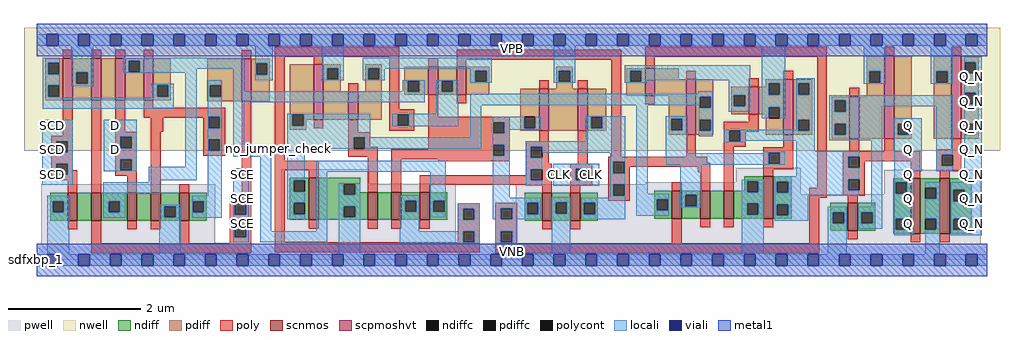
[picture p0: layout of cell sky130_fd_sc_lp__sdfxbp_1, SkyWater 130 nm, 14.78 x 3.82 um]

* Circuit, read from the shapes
.subckt sky130_fd_sc_lp__sdfxbp_1 CLK D SCD SCE VGND VNB VPB VPWR Q Q_N
XM1 n1 SCD VGND VNB sky130_fd_pr__nfet_01v8 w=0.42 l=0.15
XM2 n2 SCE n1 VNB sky130_fd_pr__nfet_01v8 w=0.42 l=0.15
XM3 n3 D n2 VNB sky130_fd_pr__nfet_01v8 w=0.42 l=0.15
XM4 VGND n4 n3 VNB sky130_fd_pr__nfet_01v8 w=0.42 l=0.15
XM5 n4 SCE VGND VNB sky130_fd_pr__nfet_01v8 w=0.42 l=0.15
XM6 VGND n5 n6 VNB sky130_fd_pr__nfet_01v8 w=0.64 l=0.15
XM7 n7 n6 VGND VNB sky130_fd_pr__nfet_01v8 w=0.42 l=0.15
XM8 n5 n8 n7 VNB sky130_fd_pr__nfet_01v8 w=0.42 l=0.15
XM9 n2 n9 n5 VNB sky130_fd_pr__nfet_01v8 w=0.42 l=0.15
XM10 VGND n9 n8 VNB sky130_fd_pr__nfet_01v8 w=0.42 l=0.15
XM11 n9 CLK VGND VNB sky130_fd_pr__nfet_01v8 w=0.42 l=0.15
XM12 n10 n8 n6 VNB sky130_fd_pr__nfet_01v8 w=0.42 l=0.15
XM13 n11 n9 n10 VNB sky130_fd_pr__nfet_01v8 w=0.42 l=0.15
XM14 VGND n12 n11 VNB sky130_fd_pr__nfet_01v8 w=0.42 l=0.15
XM15 n12 n10 VGND VNB sky130_fd_pr__nfet_01v8 w=0.64 l=0.15
XM16 n13 n12 VGND VNB sky130_fd_pr__nfet_01v8 w=0.42 l=0.15
XM17 VGND n12 Q VNB sky130_fd_pr__nfet_01v8 w=0.84 l=0.15
XM18 Q_N n13 VGND VNB sky130_fd_pr__nfet_01v8 w=0.84 l=0.15
XM19 VPWR SCD n14 VPB sky130_fd_pr__pfet_01v8_hvt w=0.64 l=0.15
XM20 n15 SCE VPWR VPB sky130_fd_pr__pfet_01v8_hvt w=0.64 l=0.15
XM21 n2 D n15 VPB sky130_fd_pr__pfet_01v8_hvt w=0.64 l=0.15
XM22 n14 n4 n2 VPB sky130_fd_pr__pfet_01v8_hvt w=0.64 l=0.15
XM23 VPWR SCE n4 VPB sky130_fd_pr__pfet_01v8_hvt w=0.64 l=0.15
XM24 VPWR n5 n6 VPB sky130_fd_pr__pfet_01v8_hvt w=0.84 l=0.15
XM25 n16 n6 VPWR VPB sky130_fd_pr__pfet_01v8_hvt w=0.42 l=0.15
XM26 n5 n8 n2 VPB sky130_fd_pr__pfet_01v8_hvt w=0.42 l=0.15
XM27 n16 n9 n5 VPB sky130_fd_pr__pfet_01v8_hvt w=0.42 l=0.15
XM28 VPWR n9 n8 VPB sky130_fd_pr__pfet_01v8_hvt w=0.64 l=0.15
XM29 n9 CLK VPWR VPB sky130_fd_pr__pfet_01v8_hvt w=0.64 l=0.15
XM30 n10 n8 n17 VPB sky130_fd_pr__pfet_01v8_hvt w=0.42 l=0.15
XM31 n6 n9 n10 VPB sky130_fd_pr__pfet_01v8_hvt w=0.84 l=0.15
XM32 VPWR n12 n17 VPB sky130_fd_pr__pfet_01v8_hvt w=0.42 l=0.15
XM33 n12 n10 VPWR VPB sky130_fd_pr__pfet_01v8_hvt w=0.84 l=0.15
XM34 VPWR n12 n13 VPB sky130_fd_pr__pfet_01v8_hvt w=0.64 l=0.15
XM35 Q n12 VPWR VPB sky130_fd_pr__pfet_01v8_hvt w=1.26 l=0.15
XM36 Q_N n13 VPWR VPB sky130_fd_pr__pfet_01v8_hvt w=1.26 l=0.15
.ends

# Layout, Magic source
magic
tech sky130A
magscale 1 2
<< nwell >>
rect -38 331 2918 704
<< pwell >>
rect 741 231 1007 275
rect 2118 235 2314 279
rect 15 49 541 229
rect 741 49 1270 231
rect 1845 229 2314 235
rect 1452 199 2314 229
rect 2568 199 2859 273
rect 1452 49 2859 199
rect 0 0 2880 49
<< scnmos >>
rect 94 119 124 203
rect 166 119 196 203
rect 274 119 304 203
rect 346 119 376 203
rect 432 119 462 203
rect 824 121 854 249
rect 1003 121 1033 205
rect 1075 121 1105 205
rect 1161 121 1191 205
rect 1531 119 1561 203
rect 1617 119 1647 203
rect 1924 125 1954 209
rect 2010 125 2040 209
rect 2082 125 2112 209
rect 2201 125 2231 253
rect 2457 89 2487 173
rect 2647 79 2677 247
rect 2736 79 2766 247
<< scpmoshvt >>
rect 80 483 110 611
rect 166 483 196 611
rect 238 483 268 611
rect 324 483 354 611
rect 621 481 651 609
rect 839 425 869 593
rect 944 425 974 509
rect 1186 501 1216 585
rect 1272 501 1302 585
rect 1522 391 1552 519
rect 1639 391 1669 519
rect 1843 497 1873 581
rect 1967 379 1997 547
rect 2157 441 2187 525
rect 2262 379 2292 547
rect 2462 367 2492 495
rect 2567 367 2597 619
rect 2770 367 2800 619
<< ndiff >>
rect 41 178 94 203
rect 41 144 49 178
rect 83 144 94 178
rect 41 119 94 144
rect 124 119 166 203
rect 196 178 274 203
rect 196 144 218 178
rect 252 144 274 178
rect 196 119 274 144
rect 304 119 346 203
rect 376 163 432 203
rect 376 129 387 163
rect 421 129 432 163
rect 376 119 432 129
rect 462 178 515 203
rect 462 144 473 178
rect 507 144 515 178
rect 462 119 515 144
rect 767 241 824 249
rect 767 207 779 241
rect 813 207 824 241
rect 767 173 824 207
rect 767 139 779 173
rect 813 139 824 173
rect 767 121 824 139
rect 854 231 981 249
rect 854 197 931 231
rect 965 205 981 231
rect 965 197 1003 205
rect 854 163 1003 197
rect 854 129 931 163
rect 965 129 1003 163
rect 854 121 1003 129
rect 1033 121 1075 205
rect 1105 180 1161 205
rect 1105 146 1116 180
rect 1150 146 1161 180
rect 1105 121 1161 146
rect 1191 180 1244 205
rect 1191 146 1202 180
rect 1236 146 1244 180
rect 1478 173 1531 203
rect 1191 121 1244 146
rect 1478 139 1486 173
rect 1520 139 1531 173
rect 1478 119 1531 139
rect 1561 174 1617 203
rect 1561 140 1572 174
rect 1606 140 1617 174
rect 1561 119 1617 140
rect 1647 173 1700 203
rect 2144 239 2201 253
rect 2144 209 2152 239
rect 1871 184 1924 209
rect 1647 139 1658 173
rect 1692 139 1700 173
rect 1647 119 1700 139
rect 1871 150 1879 184
rect 1913 150 1924 184
rect 1871 125 1924 150
rect 1954 197 2010 209
rect 1954 163 1965 197
rect 1999 163 2010 197
rect 1954 125 2010 163
rect 2040 125 2082 209
rect 2112 205 2152 209
rect 2186 205 2201 239
rect 2112 171 2201 205
rect 2112 137 2152 171
rect 2186 137 2201 171
rect 2112 125 2201 137
rect 2231 237 2288 253
rect 2231 203 2242 237
rect 2276 203 2288 237
rect 2231 169 2288 203
rect 2231 135 2242 169
rect 2276 135 2288 169
rect 2231 125 2288 135
rect 2594 235 2647 247
rect 2594 201 2602 235
rect 2636 201 2647 235
rect 2404 145 2457 173
rect 2404 111 2412 145
rect 2446 111 2457 145
rect 2404 89 2457 111
rect 2487 145 2540 173
rect 2487 111 2498 145
rect 2532 111 2540 145
rect 2487 89 2540 111
rect 2594 125 2647 201
rect 2594 91 2602 125
rect 2636 91 2647 125
rect 2594 79 2647 91
rect 2677 219 2736 247
rect 2677 185 2691 219
rect 2725 185 2736 219
rect 2677 125 2736 185
rect 2677 91 2691 125
rect 2725 91 2736 125
rect 2677 79 2736 91
rect 2766 212 2833 247
rect 2766 178 2777 212
rect 2811 178 2833 212
rect 2766 125 2833 178
rect 2766 91 2777 125
rect 2811 91 2833 125
rect 2766 79 2833 91
<< pdiff >>
rect 27 597 80 611
rect 27 563 35 597
rect 69 563 80 597
rect 27 529 80 563
rect 27 495 35 529
rect 69 495 80 529
rect 27 483 80 495
rect 110 568 166 611
rect 110 534 121 568
rect 155 534 166 568
rect 110 483 166 534
rect 196 483 238 611
rect 268 603 324 611
rect 268 569 279 603
rect 313 569 324 603
rect 268 483 324 569
rect 354 529 407 611
rect 354 495 365 529
rect 399 495 407 529
rect 354 483 407 495
rect 517 529 621 609
rect 517 495 525 529
rect 559 495 621 529
rect 517 481 621 495
rect 651 595 707 609
rect 651 561 665 595
rect 699 561 707 595
rect 651 481 707 561
rect 767 441 839 593
rect 767 407 775 441
rect 809 425 839 441
rect 869 581 922 593
rect 869 547 880 581
rect 914 547 922 581
rect 869 509 922 547
rect 996 581 1046 593
rect 996 547 1004 581
rect 1038 547 1046 581
rect 996 509 1046 547
rect 869 425 944 509
rect 974 425 1046 509
rect 1113 543 1186 585
rect 1113 509 1125 543
rect 1159 509 1186 543
rect 1113 501 1186 509
rect 1216 543 1272 585
rect 1216 509 1227 543
rect 1261 509 1272 543
rect 1216 501 1272 509
rect 1302 573 1371 585
rect 1302 539 1329 573
rect 1363 539 1371 573
rect 1574 573 1624 585
rect 1302 501 1371 539
rect 1574 539 1582 573
rect 1616 539 1624 573
rect 1574 519 1624 539
rect 809 407 817 425
rect 767 395 817 407
rect 1465 433 1522 519
rect 1465 399 1477 433
rect 1511 399 1522 433
rect 1465 391 1522 399
rect 1552 391 1639 519
rect 1669 433 1726 519
rect 1669 399 1680 433
rect 1714 399 1726 433
rect 1669 391 1726 399
rect 1786 573 1843 581
rect 1786 539 1798 573
rect 1832 539 1843 573
rect 1786 497 1843 539
rect 1873 547 1945 581
rect 1873 497 1967 547
rect 1914 427 1967 497
rect 1914 393 1922 427
rect 1956 393 1967 427
rect 1914 379 1967 393
rect 1997 495 2050 547
rect 2209 535 2262 547
rect 2209 525 2217 535
rect 1997 461 2008 495
rect 2042 461 2050 495
rect 1997 425 2050 461
rect 2104 499 2157 525
rect 2104 465 2112 499
rect 2146 465 2157 499
rect 2104 441 2157 465
rect 2187 501 2217 525
rect 2251 501 2262 535
rect 2187 463 2262 501
rect 2187 441 2217 463
rect 1997 391 2008 425
rect 2042 391 2050 425
rect 1997 379 2050 391
rect 2209 429 2217 441
rect 2251 429 2262 463
rect 2209 379 2262 429
rect 2292 535 2349 547
rect 2292 501 2307 535
rect 2341 501 2349 535
rect 2292 425 2349 501
rect 2292 391 2307 425
rect 2341 391 2349 425
rect 2292 379 2349 391
rect 2514 571 2567 619
rect 2514 537 2522 571
rect 2556 537 2567 571
rect 2514 495 2567 537
rect 2409 483 2462 495
rect 2409 449 2417 483
rect 2451 449 2462 483
rect 2409 413 2462 449
rect 2409 379 2417 413
rect 2451 379 2462 413
rect 2409 367 2462 379
rect 2492 367 2567 495
rect 2597 413 2650 619
rect 2597 379 2608 413
rect 2642 379 2650 413
rect 2597 367 2650 379
rect 2717 571 2770 619
rect 2717 537 2725 571
rect 2759 537 2770 571
rect 2717 367 2770 537
rect 2800 599 2853 619
rect 2800 565 2811 599
rect 2845 565 2853 599
rect 2800 506 2853 565
rect 2800 472 2811 506
rect 2845 472 2853 506
rect 2800 413 2853 472
rect 2800 379 2811 413
rect 2845 379 2853 413
rect 2800 367 2853 379
<< ndiffc >>
rect 49 144 83 178
rect 218 144 252 178
rect 387 129 421 163
rect 473 144 507 178
rect 779 207 813 241
rect 779 139 813 173
rect 931 197 965 231
rect 931 129 965 163
rect 1116 146 1150 180
rect 1202 146 1236 180
rect 1486 139 1520 173
rect 1572 140 1606 174
rect 1658 139 1692 173
rect 1879 150 1913 184
rect 1965 163 1999 197
rect 2152 205 2186 239
rect 2152 137 2186 171
rect 2242 203 2276 237
rect 2242 135 2276 169
rect 2602 201 2636 235
rect 2412 111 2446 145
rect 2498 111 2532 145
rect 2602 91 2636 125
rect 2691 185 2725 219
rect 2691 91 2725 125
rect 2777 178 2811 212
rect 2777 91 2811 125
<< pdiffc >>
rect 35 563 69 597
rect 35 495 69 529
rect 121 534 155 568
rect 279 569 313 603
rect 365 495 399 529
rect 525 495 559 529
rect 665 561 699 595
rect 775 407 809 441
rect 880 547 914 581
rect 1004 547 1038 581
rect 1125 509 1159 543
rect 1227 509 1261 543
rect 1329 539 1363 573
rect 1582 539 1616 573
rect 1477 399 1511 433
rect 1680 399 1714 433
rect 1798 539 1832 573
rect 1922 393 1956 427
rect 2008 461 2042 495
rect 2112 465 2146 499
rect 2217 501 2251 535
rect 2008 391 2042 425
rect 2217 429 2251 463
rect 2307 501 2341 535
rect 2307 391 2341 425
rect 2522 537 2556 571
rect 2417 449 2451 483
rect 2417 379 2451 413
rect 2608 379 2642 413
rect 2725 537 2759 571
rect 2811 565 2845 599
rect 2811 472 2845 506
rect 2811 379 2845 413
<< poly >>
rect 80 611 110 637
rect 166 611 196 637
rect 238 611 268 637
rect 324 611 354 637
rect 621 609 651 635
rect 722 615 1098 645
rect 80 376 110 483
rect 44 360 110 376
rect 44 326 60 360
rect 94 326 110 360
rect 44 292 110 326
rect 44 258 60 292
rect 94 272 110 292
rect 94 258 124 272
rect 44 242 124 258
rect 94 203 124 242
rect 166 203 196 483
rect 238 389 268 483
rect 324 461 354 483
rect 324 433 571 461
rect 324 431 521 433
rect 346 389 384 431
rect 505 399 521 431
rect 555 399 571 433
rect 238 373 304 389
rect 238 339 254 373
rect 288 339 304 373
rect 238 305 304 339
rect 238 271 254 305
rect 288 271 304 305
rect 238 255 304 271
rect 274 203 304 255
rect 346 203 376 389
rect 505 365 571 399
rect 505 331 521 365
rect 555 331 571 365
rect 505 315 571 331
rect 432 203 462 229
rect 621 187 651 481
rect 585 171 651 187
rect 585 137 601 171
rect 635 137 651 171
rect 94 93 124 119
rect 166 51 196 119
rect 274 93 304 119
rect 346 93 376 119
rect 432 51 462 119
rect 585 103 651 137
rect 585 69 601 103
rect 635 69 651 103
rect 585 51 651 69
rect 166 21 651 51
rect 722 301 752 615
rect 839 593 869 615
rect 944 509 974 535
rect 1068 457 1098 615
rect 1186 585 1216 611
rect 1272 607 1771 637
rect 1272 585 1302 607
rect 1522 519 1552 545
rect 1639 519 1669 545
rect 1068 441 1144 457
rect 839 399 869 425
rect 944 387 974 425
rect 1068 407 1094 441
rect 1128 407 1144 441
rect 1068 391 1144 407
rect 1186 433 1216 501
rect 1272 475 1302 501
rect 1186 417 1433 433
rect 944 371 1010 387
rect 944 337 960 371
rect 994 343 1010 371
rect 1186 383 1383 417
rect 1417 383 1433 417
rect 1186 349 1433 383
rect 1522 359 1552 391
rect 994 337 1033 343
rect 944 313 1033 337
rect 1186 335 1383 349
rect 722 271 854 301
rect 722 53 752 271
rect 824 249 854 271
rect 1003 205 1033 313
rect 1075 315 1383 335
rect 1417 315 1433 349
rect 1075 305 1433 315
rect 1075 205 1105 305
rect 1216 299 1433 305
rect 1481 343 1552 359
rect 1481 309 1497 343
rect 1531 309 1552 343
rect 1481 291 1552 309
rect 1639 292 1669 391
rect 1741 313 1771 607
rect 1843 615 2394 645
rect 2567 619 2597 645
rect 2770 619 2800 645
rect 1843 581 1873 615
rect 1967 547 1997 573
rect 1843 471 1873 497
rect 2157 525 2187 551
rect 2262 547 2292 573
rect 2157 419 2187 441
rect 2082 393 2187 419
rect 1967 313 1997 379
rect 2082 359 2098 393
rect 2132 389 2187 393
rect 2132 359 2148 389
rect 2082 343 2148 359
rect 1731 297 2032 313
rect 1481 275 1561 291
rect 1481 257 1497 275
rect 1161 241 1497 257
rect 1531 241 1561 275
rect 1161 227 1561 241
rect 1161 205 1191 227
rect 1481 225 1561 227
rect 1531 203 1561 225
rect 1617 276 1683 292
rect 1617 242 1633 276
rect 1667 242 1683 276
rect 1617 226 1683 242
rect 1731 263 1747 297
rect 1781 295 2032 297
rect 1781 283 2040 295
rect 1781 263 1797 283
rect 2002 265 2040 283
rect 1731 229 1797 263
rect 1617 203 1647 226
rect 1276 155 1342 171
rect 1276 121 1292 155
rect 1326 121 1342 155
rect 824 95 854 121
rect 1003 95 1033 121
rect 1075 95 1105 121
rect 1161 95 1191 121
rect 1276 87 1342 121
rect 1276 53 1292 87
rect 1326 53 1342 87
rect 722 23 1342 53
rect 1390 157 1456 173
rect 1390 123 1406 157
rect 1440 123 1456 157
rect 1390 87 1456 123
rect 1731 195 1747 229
rect 1781 195 1797 229
rect 1924 209 1954 235
rect 2010 209 2040 265
rect 2082 209 2112 343
rect 2262 341 2292 379
rect 2201 325 2292 341
rect 2201 291 2217 325
rect 2251 291 2292 325
rect 2201 275 2292 291
rect 2201 253 2231 275
rect 1731 179 1797 195
rect 2364 218 2394 615
rect 2462 495 2492 521
rect 2462 329 2492 367
rect 2567 329 2597 367
rect 2770 335 2800 367
rect 2340 188 2394 218
rect 2442 313 2677 329
rect 2442 279 2458 313
rect 2492 299 2677 313
rect 2492 279 2508 299
rect 2442 245 2508 279
rect 2647 247 2677 299
rect 2725 319 2800 335
rect 2725 285 2741 319
rect 2775 285 2800 319
rect 2725 269 2800 285
rect 2736 247 2766 269
rect 2442 211 2458 245
rect 2492 211 2508 245
rect 2442 195 2508 211
rect 1531 93 1561 119
rect 1617 93 1647 119
rect 1390 53 1406 87
rect 1440 53 1456 87
rect 1390 51 1456 53
rect 1924 51 1954 125
rect 2010 99 2040 125
rect 2082 99 2112 125
rect 2201 99 2231 125
rect 2340 51 2370 188
rect 2457 173 2487 195
rect 2457 63 2487 89
rect 2647 53 2677 79
rect 2736 53 2766 79
rect 1390 21 2370 51
<< polycont >>
rect 60 326 94 360
rect 60 258 94 292
rect 521 399 555 433
rect 254 339 288 373
rect 254 271 288 305
rect 521 331 555 365
rect 601 137 635 171
rect 601 69 635 103
rect 1094 407 1128 441
rect 960 337 994 371
rect 1383 383 1417 417
rect 1383 315 1417 349
rect 1497 309 1531 343
rect 2098 359 2132 393
rect 1497 241 1531 275
rect 1633 242 1667 276
rect 1747 263 1781 297
rect 1292 121 1326 155
rect 1292 53 1326 87
rect 1406 123 1440 157
rect 1747 195 1781 229
rect 2217 291 2251 325
rect 2458 279 2492 313
rect 2741 285 2775 319
rect 2458 211 2492 245
rect 1406 53 1440 87
<< locali >>
rect 0 649 31 683
rect 65 649 127 683
rect 161 649 223 683
rect 257 649 319 683
rect 353 649 415 683
rect 449 649 511 683
rect 545 649 607 683
rect 641 649 703 683
rect 737 649 799 683
rect 833 649 895 683
rect 929 649 991 683
rect 1025 649 1087 683
rect 1121 649 1183 683
rect 1217 649 1279 683
rect 1313 649 1375 683
rect 1409 649 1471 683
rect 1505 649 1567 683
rect 1601 649 1663 683
rect 1697 649 1759 683
rect 1793 649 1855 683
rect 1889 649 1951 683
rect 1985 649 2047 683
rect 2081 649 2143 683
rect 2177 649 2239 683
rect 2273 649 2335 683
rect 2369 649 2431 683
rect 2465 649 2527 683
rect 2561 649 2623 683
rect 2657 649 2719 683
rect 2753 649 2815 683
rect 2849 649 2880 683
rect 19 597 71 613
rect 19 563 35 597
rect 69 563 71 597
rect 19 529 71 563
rect 19 495 35 529
rect 69 495 71 529
rect 105 568 171 649
rect 105 534 121 568
rect 155 534 171 568
rect 263 603 629 613
rect 263 569 279 603
rect 313 579 629 603
rect 313 569 485 579
rect 263 567 485 569
rect 105 526 171 534
rect 349 529 415 533
rect 19 492 71 495
rect 349 495 365 529
rect 399 495 415 529
rect 349 492 415 495
rect 19 458 415 492
rect 17 360 110 424
rect 17 326 60 360
rect 94 326 110 360
rect 17 292 110 326
rect 17 258 60 292
rect 94 258 110 292
rect 204 373 304 424
rect 204 339 254 373
rect 288 339 304 373
rect 204 305 304 339
rect 204 271 254 305
rect 288 271 304 305
rect 451 283 485 567
rect 204 269 304 271
rect 17 228 110 258
rect 340 241 485 283
rect 519 529 561 545
rect 519 495 525 529
rect 559 495 561 529
rect 519 433 561 495
rect 519 399 521 433
rect 555 399 561 433
rect 519 365 561 399
rect 519 331 521 365
rect 555 331 561 365
rect 340 235 374 241
rect 202 201 374 235
rect 33 178 99 194
rect 33 144 49 178
rect 83 144 99 178
rect 33 17 99 144
rect 202 178 268 201
rect 519 194 561 331
rect 595 511 629 579
rect 663 595 715 649
rect 663 561 665 595
rect 699 561 715 595
rect 663 545 715 561
rect 864 581 930 649
rect 864 547 880 581
rect 914 547 930 581
rect 864 545 930 547
rect 988 581 1379 613
rect 988 547 1004 581
rect 1038 579 1379 581
rect 1038 547 1054 579
rect 988 545 1054 547
rect 1313 573 1379 579
rect 1109 543 1175 545
rect 1109 511 1125 543
rect 595 509 1125 511
rect 1159 509 1175 543
rect 595 477 1175 509
rect 1211 543 1277 545
rect 1211 509 1227 543
rect 1261 509 1277 543
rect 1313 539 1329 573
rect 1363 539 1379 573
rect 1313 537 1379 539
rect 1566 573 1632 649
rect 1566 539 1582 573
rect 1616 539 1632 573
rect 1566 537 1632 539
rect 1782 573 2162 589
rect 1782 539 1798 573
rect 1832 545 2162 573
rect 1832 539 1848 545
rect 1782 537 1848 539
rect 595 346 629 477
rect 1211 443 1277 509
rect 2004 503 2048 511
rect 759 441 1010 443
rect 759 407 775 441
rect 809 407 1010 441
rect 759 371 1010 407
rect 1078 441 1277 443
rect 1078 407 1094 441
rect 1128 407 1277 441
rect 1078 405 1277 407
rect 1313 495 2048 503
rect 1313 469 2008 495
rect 1313 371 1347 469
rect 1664 433 1783 435
rect 595 312 711 346
rect 202 144 218 178
rect 252 144 268 178
rect 471 178 561 194
rect 202 128 268 144
rect 371 163 437 167
rect 371 129 387 163
rect 421 129 437 163
rect 371 17 437 129
rect 471 144 473 178
rect 507 144 561 178
rect 471 128 561 144
rect 595 171 643 278
rect 595 137 601 171
rect 635 137 643 171
rect 595 103 643 137
rect 595 69 601 103
rect 635 69 643 103
rect 595 53 643 69
rect 677 87 711 312
rect 759 337 960 371
rect 994 337 1347 371
rect 1381 417 1477 433
rect 1381 383 1383 417
rect 1417 399 1477 417
rect 1511 399 1527 433
rect 1417 395 1527 399
rect 1664 399 1680 433
rect 1714 399 1783 433
rect 1417 383 1433 395
rect 1381 349 1433 383
rect 1664 359 1783 399
rect 759 241 813 337
rect 1381 315 1383 349
rect 1417 315 1433 349
rect 759 207 779 241
rect 759 173 813 207
rect 759 139 779 173
rect 759 123 813 139
rect 847 267 1240 301
rect 847 87 881 267
rect 677 53 881 87
rect 915 231 981 233
rect 915 197 931 231
rect 965 197 981 231
rect 915 163 981 197
rect 915 129 931 163
rect 965 129 981 163
rect 915 17 981 129
rect 1100 180 1159 196
rect 1100 146 1116 180
rect 1150 146 1159 180
rect 1100 87 1159 146
rect 1193 180 1240 267
rect 1193 146 1202 180
rect 1236 146 1240 180
rect 1381 189 1433 315
rect 1481 343 1783 359
rect 1481 309 1497 343
rect 1531 325 1783 343
rect 1481 275 1531 309
rect 1738 297 1783 325
rect 1481 241 1497 275
rect 1481 225 1531 241
rect 1565 276 1704 291
rect 1565 242 1633 276
rect 1667 242 1704 276
rect 1565 224 1704 242
rect 1738 263 1747 297
rect 1781 263 1783 297
rect 1738 229 1783 263
rect 1738 195 1747 229
rect 1781 195 1783 229
rect 1381 173 1527 189
rect 1193 130 1240 146
rect 1276 155 1342 171
rect 1276 121 1292 155
rect 1326 121 1342 155
rect 1381 157 1486 173
rect 1381 123 1406 157
rect 1440 139 1486 157
rect 1520 139 1527 173
rect 1440 123 1527 139
rect 1561 174 1616 190
rect 1738 189 1783 195
rect 1561 140 1572 174
rect 1606 140 1616 174
rect 1276 87 1342 121
rect 1100 53 1292 87
rect 1326 53 1342 87
rect 1100 51 1342 53
rect 1390 87 1456 123
rect 1390 53 1406 87
rect 1440 53 1456 87
rect 1390 51 1456 53
rect 1561 17 1616 140
rect 1650 173 1783 189
rect 1650 139 1658 173
rect 1692 139 1783 173
rect 1650 123 1783 139
rect 1817 200 1851 469
rect 2006 461 2008 469
rect 2042 461 2048 495
rect 1906 427 1972 435
rect 1906 393 1922 427
rect 1956 393 1972 427
rect 1906 323 1972 393
rect 2006 425 2048 461
rect 2096 499 2162 545
rect 2096 465 2112 499
rect 2146 465 2162 499
rect 2096 449 2162 465
rect 2196 535 2267 649
rect 2506 571 2572 649
rect 2196 501 2217 535
rect 2251 501 2267 535
rect 2196 463 2267 501
rect 2196 429 2217 463
rect 2251 429 2267 463
rect 2301 535 2357 551
rect 2301 501 2307 535
rect 2341 501 2357 535
rect 2506 537 2522 571
rect 2556 537 2572 571
rect 2506 533 2572 537
rect 2709 571 2775 649
rect 2709 537 2725 571
rect 2759 537 2775 571
rect 2709 533 2775 537
rect 2809 599 2863 615
rect 2809 565 2811 599
rect 2845 565 2863 599
rect 2006 391 2008 425
rect 2042 391 2048 425
rect 2301 425 2357 501
rect 2809 506 2863 565
rect 2301 395 2307 425
rect 2006 375 2048 391
rect 2082 393 2307 395
rect 2082 359 2098 393
rect 2132 391 2307 393
rect 2341 391 2357 425
rect 2132 361 2357 391
rect 2401 483 2775 499
rect 2401 449 2417 483
rect 2451 465 2775 483
rect 2451 449 2562 465
rect 2401 413 2562 449
rect 2401 379 2417 413
rect 2451 379 2562 413
rect 2401 363 2562 379
rect 2132 359 2148 361
rect 2082 357 2148 359
rect 2301 329 2357 361
rect 2201 325 2267 327
rect 2201 323 2217 325
rect 1906 291 2217 323
rect 2251 291 2267 325
rect 1906 289 2267 291
rect 2301 313 2492 329
rect 1817 184 1915 200
rect 1817 150 1879 184
rect 1913 150 1915 184
rect 1949 197 2015 289
rect 2301 279 2458 313
rect 2301 253 2492 279
rect 2236 245 2492 253
rect 1949 163 1965 197
rect 1999 163 2015 197
rect 1949 159 2015 163
rect 2136 239 2202 243
rect 2136 205 2152 239
rect 2186 205 2202 239
rect 2136 171 2202 205
rect 1817 134 1915 150
rect 2136 137 2152 171
rect 2186 137 2202 171
rect 2136 17 2202 137
rect 2236 237 2458 245
rect 2236 203 2242 237
rect 2276 211 2458 237
rect 2276 203 2492 211
rect 2236 195 2492 203
rect 2236 169 2337 195
rect 2236 135 2242 169
rect 2276 135 2337 169
rect 2528 161 2562 363
rect 2236 119 2337 135
rect 2396 145 2454 161
rect 2396 111 2412 145
rect 2446 111 2454 145
rect 2396 17 2454 111
rect 2488 145 2562 161
rect 2488 111 2498 145
rect 2532 111 2562 145
rect 2488 95 2562 111
rect 2598 413 2681 429
rect 2598 379 2608 413
rect 2642 379 2681 413
rect 2598 269 2681 379
rect 2725 319 2775 465
rect 2725 285 2741 319
rect 2725 269 2775 285
rect 2809 472 2811 506
rect 2845 472 2863 506
rect 2809 413 2863 472
rect 2809 379 2811 413
rect 2845 379 2863 413
rect 2598 235 2657 269
rect 2809 235 2863 379
rect 2598 201 2602 235
rect 2636 201 2657 235
rect 2598 125 2657 201
rect 2598 91 2602 125
rect 2636 91 2657 125
rect 2598 75 2657 91
rect 2691 219 2735 235
rect 2725 185 2735 219
rect 2691 125 2735 185
rect 2725 91 2735 125
rect 2691 17 2735 91
rect 2769 212 2863 235
rect 2769 178 2777 212
rect 2811 178 2863 212
rect 2769 125 2863 178
rect 2769 91 2777 125
rect 2811 91 2863 125
rect 2769 75 2863 91
rect 0 -17 31 17
rect 65 -17 127 17
rect 161 -17 223 17
rect 257 -17 319 17
rect 353 -17 415 17
rect 449 -17 511 17
rect 545 -17 607 17
rect 641 -17 703 17
rect 737 -17 799 17
rect 833 -17 895 17
rect 929 -17 991 17
rect 1025 -17 1087 17
rect 1121 -17 1183 17
rect 1217 -17 1279 17
rect 1313 -17 1375 17
rect 1409 -17 1471 17
rect 1505 -17 1567 17
rect 1601 -17 1663 17
rect 1697 -17 1759 17
rect 1793 -17 1855 17
rect 1889 -17 1951 17
rect 1985 -17 2047 17
rect 2081 -17 2143 17
rect 2177 -17 2239 17
rect 2273 -17 2335 17
rect 2369 -17 2431 17
rect 2465 -17 2527 17
rect 2561 -17 2623 17
rect 2657 -17 2719 17
rect 2753 -17 2815 17
rect 2849 -17 2880 17
<< viali >>
rect 31 649 65 683
rect 127 649 161 683
rect 223 649 257 683
rect 319 649 353 683
rect 415 649 449 683
rect 511 649 545 683
rect 607 649 641 683
rect 703 649 737 683
rect 799 649 833 683
rect 895 649 929 683
rect 991 649 1025 683
rect 1087 649 1121 683
rect 1183 649 1217 683
rect 1279 649 1313 683
rect 1375 649 1409 683
rect 1471 649 1505 683
rect 1567 649 1601 683
rect 1663 649 1697 683
rect 1759 649 1793 683
rect 1855 649 1889 683
rect 1951 649 1985 683
rect 2047 649 2081 683
rect 2143 649 2177 683
rect 2239 649 2273 683
rect 2335 649 2369 683
rect 2431 649 2465 683
rect 2527 649 2561 683
rect 2623 649 2657 683
rect 2719 649 2753 683
rect 2815 649 2849 683
rect 31 -17 65 17
rect 127 -17 161 17
rect 223 -17 257 17
rect 319 -17 353 17
rect 415 -17 449 17
rect 511 -17 545 17
rect 607 -17 641 17
rect 703 -17 737 17
rect 799 -17 833 17
rect 895 -17 929 17
rect 991 -17 1025 17
rect 1087 -17 1121 17
rect 1183 -17 1217 17
rect 1279 -17 1313 17
rect 1375 -17 1409 17
rect 1471 -17 1505 17
rect 1567 -17 1601 17
rect 1663 -17 1697 17
rect 1759 -17 1793 17
rect 1855 -17 1889 17
rect 1951 -17 1985 17
rect 2047 -17 2081 17
rect 2143 -17 2177 17
rect 2239 -17 2273 17
rect 2335 -17 2369 17
rect 2431 -17 2465 17
rect 2527 -17 2561 17
rect 2623 -17 2657 17
rect 2719 -17 2753 17
rect 2815 -17 2849 17
<< metal1 >>
rect 0 683 2880 715
rect 0 649 31 683
rect 65 649 127 683
rect 161 649 223 683
rect 257 649 319 683
rect 353 649 415 683
rect 449 649 511 683
rect 545 649 607 683
rect 641 649 703 683
rect 737 649 799 683
rect 833 649 895 683
rect 929 649 991 683
rect 1025 649 1087 683
rect 1121 649 1183 683
rect 1217 649 1279 683
rect 1313 649 1375 683
rect 1409 649 1471 683
rect 1505 649 1567 683
rect 1601 649 1663 683
rect 1697 649 1759 683
rect 1793 649 1855 683
rect 1889 649 1951 683
rect 1985 649 2047 683
rect 2081 649 2143 683
rect 2177 649 2239 683
rect 2273 649 2335 683
rect 2369 649 2431 683
rect 2465 649 2527 683
rect 2561 649 2623 683
rect 2657 649 2719 683
rect 2753 649 2815 683
rect 2849 649 2880 683
rect 0 617 2880 649
rect 0 17 2880 49
rect 0 -17 31 17
rect 65 -17 127 17
rect 161 -17 223 17
rect 257 -17 319 17
rect 353 -17 415 17
rect 449 -17 511 17
rect 545 -17 607 17
rect 641 -17 703 17
rect 737 -17 799 17
rect 833 -17 895 17
rect 929 -17 991 17
rect 1025 -17 1087 17
rect 1121 -17 1183 17
rect 1217 -17 1279 17
rect 1313 -17 1375 17
rect 1409 -17 1471 17
rect 1505 -17 1567 17
rect 1601 -17 1663 17
rect 1697 -17 1759 17
rect 1793 -17 1855 17
rect 1889 -17 1951 17
rect 1985 -17 2047 17
rect 2081 -17 2143 17
rect 2177 -17 2239 17
rect 2273 -17 2335 17
rect 2369 -17 2431 17
rect 2465 -17 2527 17
rect 2561 -17 2623 17
rect 2657 -17 2719 17
rect 2753 -17 2815 17
rect 2849 -17 2880 17
rect 0 -49 2880 -17
<< labels >>
flabel pwell s 0 0 2880 49 0 FreeSans 200 0 0 0 VNB
port 6 nsew ground bidirectional
flabel nwell s 0 617 2880 666 0 FreeSans 200 0 0 0 VPB
port 7 nsew power bidirectional
rlabel comment s 0 0 0 0 4 sdfxbp_1
flabel comment s 734 338 734 338 0 FreeSans 200 90 0 0 no_jumper_check
flabel metal1 s 0 617 2880 666 0 FreeSans 340 0 0 0 VPWR
port 8 nsew power bidirectional
flabel metal1 s 0 0 2880 49 0 FreeSans 340 0 0 0 VGND
port 5 nsew ground bidirectional
flabel locali s 1567 242 1601 276 0 FreeSans 340 0 0 0 CLK
port 1 nsew clock input
flabel locali s 1663 242 1697 276 0 FreeSans 340 0 0 0 CLK
port 1 nsew clock input
flabel locali s 607 94 641 128 0 FreeSans 340 0 0 0 SCE
port 4 nsew signal input
flabel locali s 607 168 641 202 0 FreeSans 340 0 0 0 SCE
port 4 nsew signal input
flabel locali s 607 242 641 276 0 FreeSans 340 0 0 0 SCE
port 4 nsew signal input
flabel locali s 31 242 65 276 0 FreeSans 340 0 0 0 SCD
port 3 nsew signal input
flabel locali s 31 316 65 350 0 FreeSans 340 0 0 0 SCD
port 3 nsew signal input
flabel locali s 31 390 65 424 0 FreeSans 340 0 0 0 SCD
port 3 nsew signal input
flabel locali s 223 316 257 350 0 FreeSans 340 0 0 0 D
port 2 nsew signal input
flabel locali s 223 390 257 424 0 FreeSans 340 0 0 0 D
port 2 nsew signal input
flabel locali s 2815 94 2849 128 0 FreeSans 340 0 0 0 Q_N
port 10 nsew signal output
flabel locali s 2815 168 2849 202 0 FreeSans 340 0 0 0 Q_N
port 10 nsew signal output
flabel locali s 2815 242 2849 276 0 FreeSans 340 0 0 0 Q_N
port 10 nsew signal output
flabel locali s 2815 316 2849 350 0 FreeSans 340 0 0 0 Q_N
port 10 nsew signal output
flabel locali s 2815 390 2849 424 0 FreeSans 340 0 0 0 Q_N
port 10 nsew signal output
flabel locali s 2815 464 2849 498 0 FreeSans 340 0 0 0 Q_N
port 10 nsew signal output
flabel locali s 2815 538 2849 572 0 FreeSans 340 0 0 0 Q_N
port 10 nsew signal output
flabel locali s 2623 94 2657 128 0 FreeSans 340 0 0 0 Q
port 9 nsew signal output
flabel locali s 2623 168 2657 202 0 FreeSans 340 0 0 0 Q
port 9 nsew signal output
flabel locali s 2623 242 2657 276 0 FreeSans 340 0 0 0 Q
port 9 nsew signal output
flabel locali s 2623 316 2657 350 0 FreeSans 340 0 0 0 Q
port 9 nsew signal output
flabel locali s 2623 390 2657 424 0 FreeSans 340 0 0 0 Q
port 9 nsew signal output
<< properties >>
string LEFsite unit
string LEFclass CORE
string FIXED_BBOX 0 0 2880 666
string GDS_FILE $PDKPATH/libs.ref/sky130_fd_sc_lp/gds/sky130_fd_sc_lp.gds
string LEFsymmetry X Y R90
string GDS_END 6083620
string GDS_START 6063196
<< end >>
